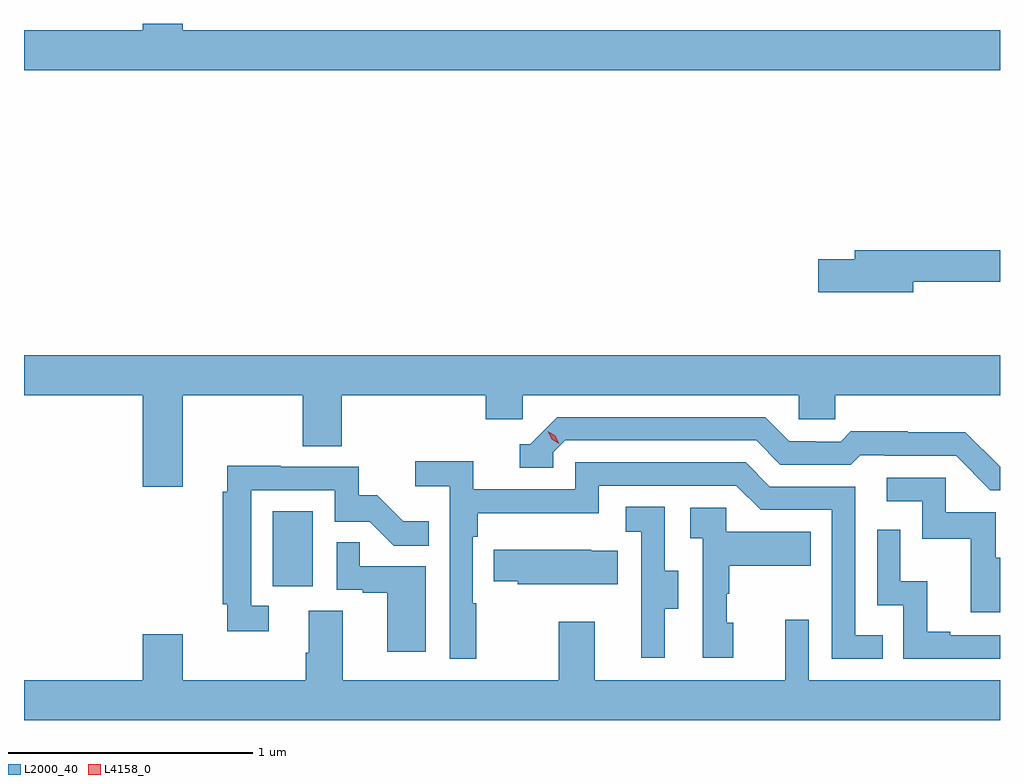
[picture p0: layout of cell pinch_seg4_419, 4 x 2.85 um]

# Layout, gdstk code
import gdstk
lib = gdstk.Library(unit=1e-6, precision=1e-09)
def R(c, l, rs):  # rectangles x0, y0, x1, y1
    for r in rs: c.add(gdstk.rectangle(r[:2], r[2:], *l))
def P(c, l, *ps):  # polygons
    for p in ps: c.add(gdstk.Polygon(p, *l))
L2000_40 = (2000, 40)
L4158_0 = (4158, 0)

pinch_seg4_419 = lib.new_cell('pinch_seg4_419')
R(pinch_seg4_419, L2000_40, [(920.786,785.382,920.95,785.689)])
P(pinch_seg4_419, L2000_40, [(923.766,787.66),(920.416,787.66),(920.416,787.687),(920.252,787.687),(920.252,787.66),(919.766,787.66),(919.766,787.496),(923.766,787.496)],
  [(923.41,786.63),(923.766,786.63),(923.766,786.758),(923.171,786.758),(923.171,786.722),(923.022,786.722),(923.022,786.587),(923.41,786.587)],
  [(920.416,786.164),(920.908,786.164),(920.908,785.956),(921.068,785.956),(921.068,786.164),(921.659,786.164),(921.659,786.066),(921.81,786.066),(921.81,786.164),(922.941,786.164),(922.941,786.066),(923.091,786.066),(923.091,786.164),(923.766,786.164),(923.766,786.328),(919.766,786.328),(919.766,786.164),(920.252,786.164),(920.252,785.79),(920.416,785.79)],
  [(923.766,785.871),(923.624,786.013),(923.388,786.013),(923.388,786.016),(923.155,786.016),(923.113,785.973),(923.01,785.973),(923.01,785.976),(922.903,785.976),(922.804,786.075),(921.951,786.075),(921.84,785.964),(921.797,785.964),(921.797,785.868),(921.936,785.868),(921.936,785.931),(921.984,785.979),(922.767,785.979),(922.866,785.88),(923.155,785.88),(923.194,785.919),(923.293,785.919),(923.293,785.916),(923.586,785.916),(923.727,785.775),(923.766,785.775)],
  [(921.619,785.312),(921.606,785.312),(921.606,785.585),(921.626,785.585),(921.626,785.681),(922.122,785.681),(922.122,785.793),(922.686,785.793),(922.785,785.694),(923.076,785.694),(923.076,785.085),(923.285,785.085),(923.285,785.181),(923.172,785.181),(923.172,785.79),(922.822,785.79),(922.723,785.889),(922.026,785.889),(922.026,785.778),(921.608,785.778),(921.608,785.894),(921.369,785.894),(921.369,785.792),(921.51,785.792),(921.51,785.085),(921.619,785.085)],
  [(920.77,785.301),(920.697,785.301),(920.697,785.775),(921.039,785.775),(921.039,785.646),(921.183,785.646),(921.281,785.548),(921.425,785.548),(921.425,785.647),(921.321,785.647),(921.214,785.754),(921.138,785.754),(921.138,785.871),(920.819,785.871),(920.819,785.876),(920.6,785.876),(920.6,785.768),(920.581,785.768),(920.581,785.308),(920.6,785.308),(920.6,785.196),(920.77,785.196)],
  [(923.766,785.499),(923.749,785.499),(923.749,785.685),(923.544,785.685),(923.544,785.826),(923.301,785.826),(923.301,785.73),(923.448,785.73),(923.448,785.577),(923.647,785.577),(923.647,785.274),(923.766,785.274)],
  [(922.393,785.29),(922.447,785.29),(922.447,785.445),(922.392,785.445),(922.392,785.708),(922.233,785.708),(922.233,785.605),(922.296,785.605),(922.296,785.301),(922.295,785.301),(922.295,785.088),(922.393,785.088)],
  [(922.672,785.232),(922.647,785.232),(922.647,785.351),(922.657,785.351),(922.657,785.465),(922.991,785.465),(922.991,785.605),(922.644,785.605),(922.644,785.703),(922.497,785.703),(922.497,785.579),(922.548,785.579),(922.548,785.088),(922.672,785.088)],
  [(923.766,785.181),(923.563,785.181),(923.563,785.194),(923.468,785.194),(923.468,785.402),(923.358,785.402),(923.358,785.614),(923.262,785.614),(923.262,785.304),(923.37,785.304),(923.37,785.085),(923.766,785.085)],
  [(921.412,785.463),(921.143,785.463),(921.143,785.561),(921.048,785.561),(921.048,785.367),(921.155,785.367),(921.155,785.355),(921.254,785.355),(921.254,785.112),(921.412,785.112)],
  [(922.199,785.527),(922.091,785.527),(922.091,785.53),(921.691,785.53),(921.691,785.401),(921.789,785.401),(921.789,785.39),(922.199,785.39)],
  [(923.766,784.996),(922.983,784.996),(922.983,785.245),(922.886,785.245),(922.886,784.996),(922.105,784.996),(922.105,785.236),(921.958,785.236),(921.958,784.996),(921.073,784.996),(921.073,785.282),(920.933,785.282),(920.933,785.108),(920.921,785.108),(920.921,784.996),(920.416,784.996),(920.416,785.185),(920.252,785.185),(920.252,784.996),(919.766,784.996),(919.766,784.832),(923.766,784.832)])
P(pinch_seg4_419, L4158_0, [(921.959,785.965),(921.929,785.984),(921.912,786.016),(921.912,786.017),(921.913,786.017),(921.943,785.998),(921.96,785.965),(921.96,785.965)])

lib.write_gds('pinch_seg4_419.gds')
